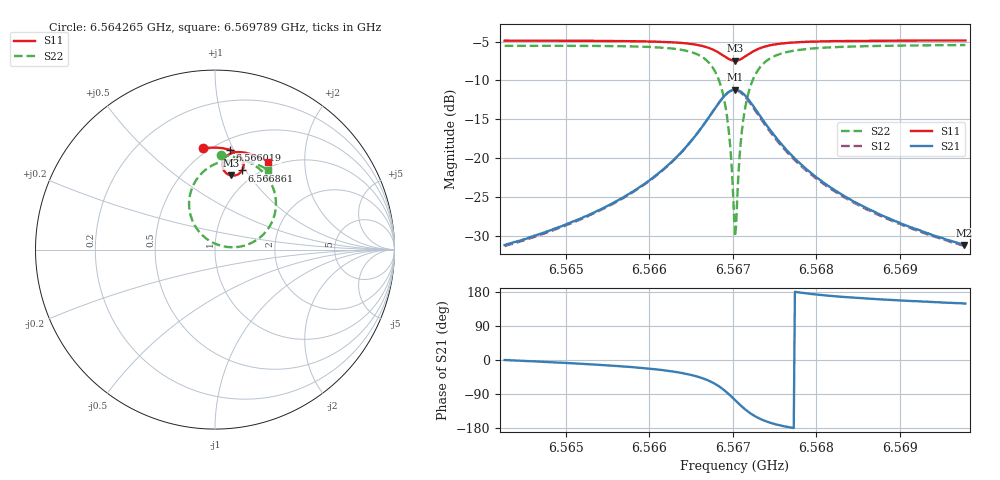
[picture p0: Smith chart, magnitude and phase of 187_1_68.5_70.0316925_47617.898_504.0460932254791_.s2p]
#  HZ  S  RI  R  50.00
! Rohde & Schwarz Vector Network Analyzer
! Rohde-Schwarz,ZNB20-2Port,1311601062101988,3.16
! Created: UTC 3/20/2024, 4:56:57 PM
! freq[Hz]  re:S11  im:S11  re:S21  im:S21  re:S12  im:S12  re:S22  im:S22
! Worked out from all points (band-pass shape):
!   401 points, 6.564265 GHz to 6.569789 GHz, reference 50 ohm
!   highest |S21| = -11.18 dB at 6.567027 GHz (marker M1); lowest = -31.2 dB at 6.569775 GHz (marker M2)
!   |S21| within 3 dB of the highest: 6.56675 GHz to 6.567303 GHz (552.9 kHz wide, 0.00842 % of centre)
!   lowest |S11| = -7.5 dB at 6.567027 GHz (marker M3), VSWR 2.46, Z = 40.9 + j41.2 ohm
!   |S11| at or under -10 dB: nowhere
!   |S22| runs from -30.1 to -5.5 dB; largest |S21 - S12| = 0.013
!   S11 on the Smith chart (normalised r, x): 6.564265 GHz: 0.46, +0.77; 6.566019 GHz: 0.59, +0.97; 6.566861 GHz: 0.85, +0.96; 6.569789 GHz: 0.92, +1.33
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6.5642647e9  -0.0696 0.565  0.0276 -5.93e-05  0.0271 -0.000515  0.0307 0.5261
6.56519e9  0.00595 0.568  0.0405 -0.00714  0.0399 -0.00778  0.1178 0.5135
6.5660186e9  0.0825 0.556  0.0673 -0.029  0.0661 -0.0298  0.2232 0.4679
6.5661152e9  0.0927 0.5524  0.0725 -0.0346  0.0713 -0.0355  0.2394 0.4561
6.5664052e9  0.1257 0.5349  0.0921 -0.0644  0.0907 -0.0655  0.2952 0.3971
6.5666262e9  0.1513 0.5055  0.1065 -0.1154  0.1042 -0.1177  0.3359 0.2987
6.5667643e9  0.1595 0.4721  0.0994 -0.1739  0.0952 -0.1771  0.3298 0.1868
6.566861e9  0.1509 0.4411  0.0672 -0.2271  0.0596 -0.23  0.272 0.0871
6.5669438e9  0.1259 0.418  0.00728 -0.2642  -0.00346 -0.2643  0.1621 0.0216
6.5669714e9  0.1138 0.4137  -0.0189 -0.2699  -0.0303 -0.2682  0.1149 0.0134
6.5670129e9  0.0943 0.4123  -0.0607 -0.2687  -0.0723 -0.2639  0.0405 0.0196
6.5670267e9  0.0877 0.4134  -0.0745 -0.2657  -0.0858 -0.2596  0.0162 0.0268
6.5670543e9  0.0751 0.4177  -0.1009 -0.2552  -0.1113 -0.2474  -0.0289 0.0481
6.5670957e9  0.0592 0.4289  -0.1347 -0.2313  -0.1427 -0.2212  -0.084 0.0946
6.5671372e9  0.0484 0.4437  -0.1586 -0.2012  -0.1639 -0.1901  -0.121 0.1506
6.5671924e9  0.0419 0.465  -0.1753 -0.1588  -0.1774 -0.1481  -0.1428 0.2265
6.5672615e9  0.044 0.4889  -0.1779 -0.1123  -0.177 -0.1031  -0.1387 0.3076
6.56751e9  0.0824 0.5328  -0.1348 -0.0249  -0.1318 -0.021  -0.0409 0.4536
6.5679519e9  0.1429 0.5429  -0.0787 0.00837  -0.0768 0.0096  0.0883 0.4992
6.5688772e9  0.2283 0.5216  -0.0381 0.0148  -0.0372 0.0151  0.2182 0.4806
6.5697748e9  0.2943 0.4893  -0.0237 0.0142  -0.0233 0.0142  0.2961 0.4441
6.5697887e9  0.2952 0.4888  -0.0237 0.0142  -0.023 0.0143  0.2971 0.4436
